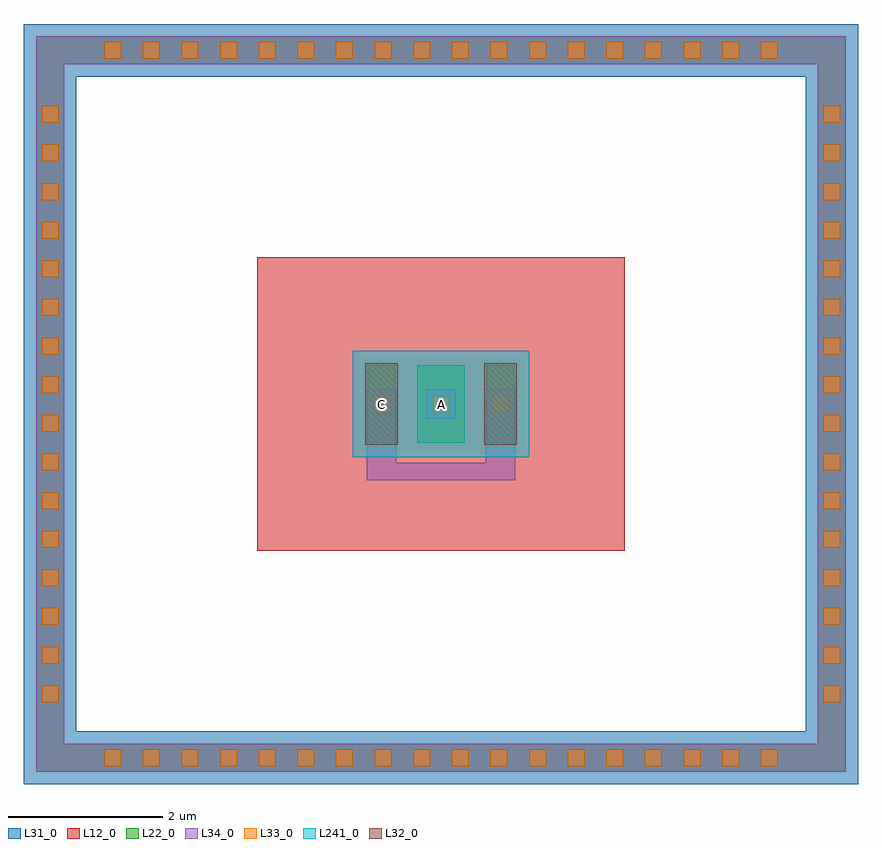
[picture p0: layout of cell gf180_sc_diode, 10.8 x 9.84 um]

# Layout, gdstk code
import gdstk
lib = gdstk.Library(unit=1e-6, precision=1e-09)
def R(c, l, rs):  # rectangles x0, y0, x1, y1
    for r in rs: c.add(gdstk.rectangle(r[:2], r[2:], *l))
def A(c, l, x, y, w, h, nx, ny, dx, dy):  # array of equal rectangles
    R(c, l, [(x+i*dx, y+j*dy, x+i*dx+w, y+j*dy+h) for i in range(nx) for j in range(ny)])
def P(c, l, *ps):  # polygons
    for p in ps: c.add(gdstk.Polygon(p, *l))
L12_0 = (12, 0)
L22_0 = (22, 0)
L31_0 = (31, 0)
L32_0 = (32, 0)
L33_0 = (33, 0)
L34_0 = (34, 0)
L241_0 = (241, 0)

gf180_sc_diode = lib.new_cell('gf180_sc_diode')
R(gf180_sc_diode, L12_0, [(-1.43,-1.4,3.33,2.4)])
R(gf180_sc_diode, L22_0, [(0,0,0.36,1), (0.64,0,1.26,1), (1.54,0,1.9,1)])
P(gf180_sc_diode, L22_0, [(-4.29,-4.26),(-4.29,4.9),(-3.93,4.9),(-3.93,-3.9),(5.83,-3.9),(5.83,4.9),(-4.29,4.9),(-4.29,5.26),(6.19,5.26),(6.19,-4.26)])
P(gf180_sc_diode, L31_0, [(-4.45,-4.42),(-4.45,4.74),(-3.77,4.74),(-3.77,-3.74),(5.67,-3.74),(5.67,4.74),(-4.45,4.74),(-4.45,5.42),(6.35,5.42),(6.35,-4.42)])
R(gf180_sc_diode, L32_0, [(-0.03,-0.03,0.39,1.03), (1.51,-0.03,1.93,1.03)])
A(gf180_sc_diode, L33_0, -3.41, -4.19, 0.22, 0.22, 18, 2, 0.5, 9.16)
A(gf180_sc_diode, L33_0, -4.22, -3.36, 0.22, 0.22, 1, 16, 0, 0.5)
A(gf180_sc_diode, L33_0, 5.9, -3.36, 0.22, 0.22, 1, 16, 0, 0.5)
A(gf180_sc_diode, L33_0, 0.07, 0.39, 0.22, 0.22, 3, 1, 0.77, 0)
R(gf180_sc_diode, L34_0, [(0.76,0.31,1.14,0.69)])
P(gf180_sc_diode, L34_0, [(-4.29,-4.26),(-4.29,4.9),(-3.93,4.9),(-3.93,-3.9),(5.83,-3.9),(5.83,4.9),(-4.29,4.9),(-4.29,5.26),(6.19,5.26),(6.19,-4.26)],
  [(-0.01,-0.49),(-0.01,0.69),(0.37,0.69),(0.37,-0.26),(1.53,-0.26),(1.53,0.69),(1.91,0.69),(1.91,-0.49)])
R(gf180_sc_diode, L241_0, [(-0.19,-0.19,2.09,1.19)])
gf180_sc_diode.add(gdstk.Label('A', (0.95,0.5), layer=34, texttype=10))
gf180_sc_diode.add(gdstk.Label('C', (0.18,0.5), layer=34, texttype=10))

lib.write_gds('gf180_sc_diode.gds')
